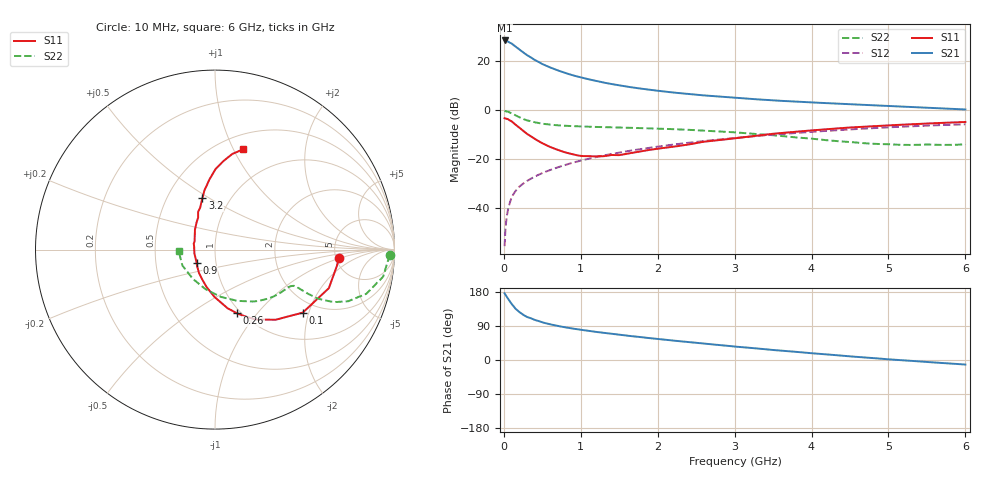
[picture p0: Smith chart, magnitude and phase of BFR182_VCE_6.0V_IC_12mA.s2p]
! Infineon Technologies  Discrete & RF Semiconductors
! BFR182
! VCE =  6.0 V,  IC =  12 mA
! Common Emitter S-Parameters:  Nov 2015
# GHz  S  MA  R  50
!  f  S11  S21  S12  S22
! GHz  MAG  ANG  MAG  ANG  MAG  ANG  MAG  ANG
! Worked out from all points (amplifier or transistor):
!   210 points, 10 MHz to 6 GHz, reference 50 ohm
!   highest |S21| = 28.6 dB at 10 MHz (marker M1)
!   |S21| within 3 dB of that: start of sweep to 173.6 MHz
!   unconditionally stable (mu >= 1): 756.8 MHz to 2.663 GHz
!   at 185 MHz: K = 0.55, MSG = 28.5 dB, |S12| = -31.7 dB
!   at 1.52 GHz: K = 1.04, MAG = 12.3 dB, |S12| = -17.1 dB
!   at 6 GHz: K = 0.90, MSG = 3.0 dB, |S12| = -5.7 dB
!   S11 on the Smith chart (normalised r, x): 10 MHz: 5.33, -0.94; 100 MHz: 1.66, -1.83; 260 MHz: 0.96, -0.79; 900 MHz: 0.81, -0.12; 3.2 GHz: 0.74, +0.47; 6 GHz: 0.65, +1.10
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0.01  0.6922 -3.8  26.79 176.0  0.0017 95.3  0.9779 -1.8
0.02  0.685 -7.7  26.53 172.4  0.0036 88.9  0.965 -3.8
0.05  0.6698 -18.7  25.62 162.8  0.0088 80.5  0.9491 -9.1
0.1  0.6017 -35.7  23.27 148.2  0.0167 75.7  0.8781 -16.3
0.15  0.5164 -49.2  20.27 135.6  0.0225 71.3  0.7959 -21.2
0.2  0.4483 -60.2  17.64 126.8  0.0277 68.5  0.7281 -23.7
0.24  0.3974 -67.4  15.8 121.0  0.0311 67.4  0.6831 -24.6
0.26  0.3749 -71.0  14.99 118.3  0.0329 67.4  0.6633 -25.0
0.3  0.3343 -77.9  13.5 113.7  0.0363 68.2  0.6289 -25.5
0.4  0.2634 -90.7  10.77 105.9  0.0445 67.9  0.5733 -25.4
0.5  0.2143 -102.5  8.846 99.2  0.0526 69.2  0.5358 -25.0
0.6  0.1805 -113.3  7.557 94.2  0.0608 69.5  0.513 -24.7
0.7  0.1572 -124.6  6.576 89.9  0.069 69.7  0.4968 -24.6
0.9  0.1271 -143.4  5.187 82.8  0.0863 69.5  0.4783 -25.0
1.02  0.1174 -159.0  4.641 79.3  0.0962 69.5  0.4706 -25.6
1.4  0.1233 164.1  3.451 69.2  0.1293 68.2  0.4521 -29.0
2.02  0.1673 130.0  2.501 55.1  0.1843 63.6  0.4248 -36.8
3.1  0.2826 105.1  1.767 33.9  0.2832 53.5  0.3474 -56.1
3.2  0.2953 103.7  1.724 32.1  0.2923 52.4  0.3377 -58.4
4.1  0.4027 93.5  1.433 16.4  0.3745 42.6  0.2556 -86.4
5.1  0.505 83.5  1.216 0.5  0.4601 30.5  0.2005 -132.4
6  0.5819 74.2  1.047 -12.1  0.5212 18.4  0.2033 -178.4
